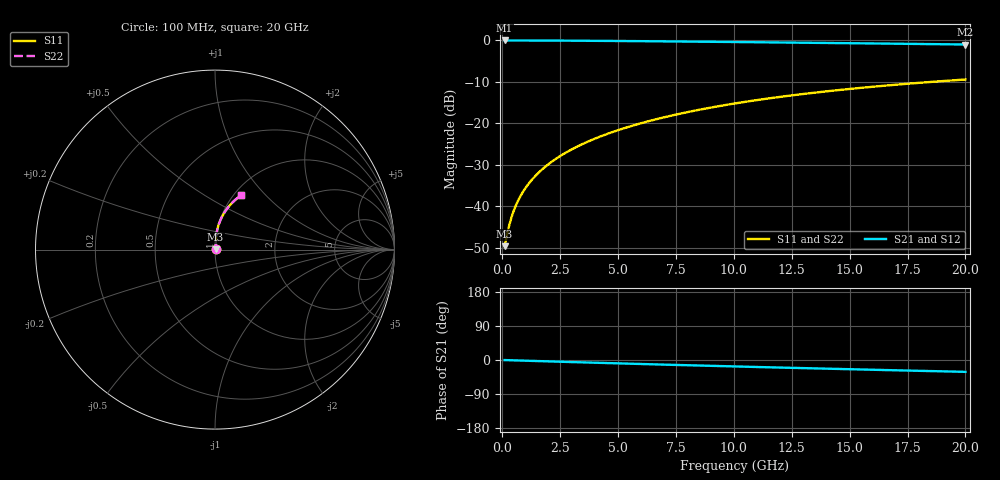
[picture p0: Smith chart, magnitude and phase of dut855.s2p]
! Touchstone file exported from HFSS 2024.1.0
!  File:  C:/UserFiles/LocalFiles/RDL_TSV_Batchsim/temp_RDL_top_855_1779855820.aedt
!  Generated:  12:26:00 PM May 27, 2026
!  Design:  RDL_top
!  Project:  temp_RDL_top_855_1779855820
!  Setup:  Setup1
!  Solution:  Sweep
! Variables:
!  dtsv = 10.80580581um
!  hbump = 3um
!  htsv = 79.72um
!  ldown = 100um
!  lrdl = 375.24um
!  p = 40
!  p1 = 59.19um
!  rhole = 1um
!  t = 450um
!  tdown = 3.915915916um
!  trdl = 2.38um
!  wdown = 15.38538539um
!  wrdl = 22.42um
# GHz S MA R 50.000000
! Terminal data exported
! Port[1] = Box2_T1
! Port[2] = Box2_T2
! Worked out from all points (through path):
!   200 points, 100 MHz to 20 GHz, reference 50 ohm
!   highest |S21| = -0.02 dB at 100 MHz (marker M1); lowest = -1.0 dB at 20 GHz (marker M2)
!   group delay of S21, straight-line fit = 4.31 ps
!   lowest |S11| = -49.7 dB at 100 MHz (marker M3), VSWR 1.01, Z = 50.3 + j0.172 ohm
!   |S11| at or under -10 dB: start of sweep to 18.59 GHz
!   |S22| runs from -49.7 to -9.4 dB; largest |S21 - S12| = 2.6e-15
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0.1  0.003284 31.4  0.9972 -0.2  0.9972 -0.2  0.003284 31.4
! Gamma 0 0 0 0
! Port Impedance 50 0 50 0
0.2  0.004452 49.9  0.9971 -0.4  0.9971 -0.4  0.004452 49.9
0.3  0.005867 59.7  0.997 -0.6  0.997 -0.6  0.005867 59.7
0.4  0.007361 65.5  0.9968 -0.8  0.9968 -0.8  0.007361 65.5
0.5  0.008876 69.2  0.9967 -0.9  0.9967 -0.9  0.008876 69.2
0.6  0.0104 71.8  0.9965 -1.1  0.9965 -1.1  0.0104 71.8
0.8  0.01344 75.4  0.9962 -1.5  0.9962 -1.5  0.01344 75.4
1.1  0.01804 78.7  0.9958 -2.0  0.9958 -2.0  0.01804 78.7
1.3  0.02113 80.1  0.9954 -2.4  0.9954 -2.4  0.02113 80.1
1.6  0.02582 81.7  0.9948 -2.9  0.9948 -2.9  0.02582 81.7
2.1  0.03375 83.3  0.9937 -3.8  0.9937 -3.8  0.03375 83.3
2.7  0.04345 84.4  0.992 -4.9  0.992 -4.9  0.04345 84.4
3.5  0.0567 85.0  0.9892 -6.3  0.9892 -6.3  0.0567 85.0
4.2  0.06858 85.1  0.9864 -7.5  0.9864 -7.5  0.06858 85.1
5  0.08244 84.8  0.9828 -8.9  0.9828 -8.9  0.08245 84.8
5.9  0.09835 84.2  0.9784 -10.4  0.9784 -10.4  0.09836 84.2
6.8  0.1145 83.3  0.9736 -11.9  0.9736 -11.9  0.1145 83.4
8.4  0.1435 81.4  0.9647 -14.5  0.9647 -14.5  0.1435 81.4
10.1  0.1742 79.0  0.9548 -17.1  0.9548 -17.1  0.1743 79.0
13.4  0.2323 74.0  0.9345 -22.0  0.9345 -22.0  0.2324 74.0
16.7  0.2869 69.0  0.9132 -26.8  0.9132 -26.8  0.287 69.0
20  0.3372 64.2  0.8912 -31.3  0.8912 -31.3  0.3373 64.2
